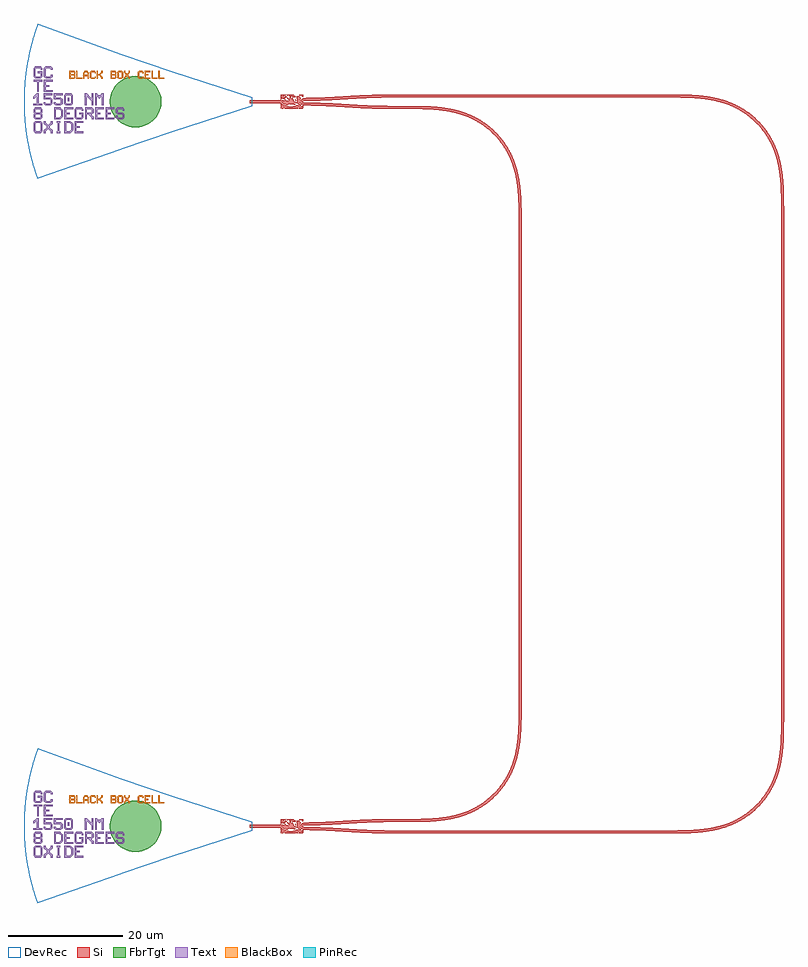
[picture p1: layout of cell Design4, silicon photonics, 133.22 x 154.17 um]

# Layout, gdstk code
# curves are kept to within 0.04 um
from math import pi, radians
import gdstk
lib = gdstk.Library(unit=1e-6, precision=1e-09)
def R(c, l, rs):  # rectangles x0, y0, x1, y1
    for r in rs: c.add(gdstk.rectangle(r[:2], r[2:], *l))
def P(c, l, *ps):  # polygons
    for p in ps: c.add(gdstk.Polygon(p, *l))
Si = (1, 0)
PinRec = (1, 10)
Text = (10, 0)
DevRec = (68, 0)
FbrTgt = (81, 0)
BlackBox = (998, 0)

l4p0w2p5 = lib.new_cell('L4p0W2p5')
P(l4p0w2p5, Si, [(-1.8,-1.25),(-1.8,-1.1),(-1.6,-1.1),(-1.6,-1.05),(-1.55,-1.05),(-1.55,-1),(-1.6,-1),(-1.6,-0.95),(1.1,-0.95),(1.1,-1),(1.05,-1),(1.05,-1.2),(1,-1.2),(1,-1.25),(0.9,-1.25),(0.9,-1.2),(0.85,-1.2),(0.85,-1.15),(0.7,-1.15),(0.7,-1.25),(-1.2,-1.25),(-1.2,-1.2),(-1.25,-1.2),(-1.25,-1.1),(-1.3,-1.1),(-1.3,-1.05),(-1.5,-1.05),(-1.5,-1.25)],
  [(-0.25,-0.45),(-0.25,-0.4),(-0.35,-0.4),(-0.35,-0.35),(0.1,-0.35),(0.1,-0.4),(0,-0.4),(0,-0.45)],
  [(11.276,0.559),(11.276,1.06),(15.182,1.229),(20,1.25),(20,0.75),(15.194,0.729)],
  [(0.1,0.75),(0.1,0.8),(0.05,0.8),(0.05,1.05),(0,1.05),(0,1.1),(-0.05,1.1),(-0.05,1.15),(-0.1,1.15),(-0.1,1.25),(0.35,1.25),(0.35,1.15),(0.3,1.15),(0.3,1),(0.4,1),(0.4,1.05),(0.5,1.05),(0.5,1),(0.6,1),(0.6,0.95),(0.65,0.95),(0.65,0.85),(0.6,0.85),(0.6,0.75)],
  [(1.65,-1.25),(1.65,-0.8),(1.9,-0.75),(1.9,-0.65),(1.95,-0.65),(1.95,-0.55),(1.85,-0.45),(1.65,-0.45),(1.65,-0.3),(1.85,-0.2),(1.85,-0.1),(1.65,-0.05),(1.65,0.35),(1.85,0.55),(1.95,0.55),(2,0.651),(5.915,0.746),(5.915,0.246),(2,0.151),(2,0.3),(1.75,0.25),(1.75,0.15),(1.95,0),(1.95,-0.15),(5.915,-0.246),(5.915,-0.746),(2,-0.651),(2,-1.1),(1.9,-1.1),(1.85,-1.25)],
  [(1.2,-1.25),(1.2,-1.15),(1.25,-1.15),(1.25,-1),(1.2,-1),(1.2,-0.95),(-0.2,-0.95),(-0.2,-0.9),(0.15,-0.9),(0.15,-0.85),(0.2,-0.85),(0.2,-0.8),(0.25,-0.8),(0.25,-0.75),(0.65,-0.75),(0.65,-0.7),(0.75,-0.7),(0.75,-0.65),(1.1,-0.65),(1.1,-0.6),(1.15,-0.6),(1.15,-0.55),(1.2,-0.55),(1.2,-0.45),(1.55,-0.45),(1.55,-0.5),(1.6,-0.5),(1.6,-0.55),(1.55,-0.55),(1.55,-0.65),(1.5,-0.65),(1.5,-0.7),(1.45,-0.7),(1.45,-0.75),(1.4,-0.75),(1.4,-0.85),(1.45,-0.85),(1.45,-0.9),(1.55,-0.9),(1.55,-0.85),(1.6,-0.85),(1.6,-0.8),(1.65,-0.8),(1.65,-1.25)],
  [(-2,0.5),(-2,0.8),(-1.9,0.8),(-1.9,0.75),(-1.85,0.75),(-1.85,0.7),(-1.8,0.7),(-1.8,0.6),(-1.75,0.6),(-1.75,0.5)],
  [(1.35,1.05),(1.35,1.1),(1.3,1.1),(1.3,1.25),(1.55,1.25),(1.55,1.2),(1.5,1.2),(1.5,1.1),(1.45,1.1),(1.45,1.05)],
  [(-2,-1.2),(-2,-0.9),(-1.95,-0.9),(-1.95,-0.85),(-1.9,-0.85),(-1.9,-0.75),(-1.85,-0.75),(-1.85,-0.65),(-1.95,-0.65),(-1.95,-0.7),(-2,-0.7),(-2,-0.25),(-7,-0.25),(-7,-0.1),(-1.85,-0.1),(-1.85,0.1),(-1.9,0.1),(-1.9,0.15),(-2,0.15),(-2,-0.1),(-7,-0.1),(-7,0.25),(-2,0.25),(-2,0.4),(-1.95,0.4),(-1.95,0.35),(-1.9,0.35),(-1.9,0.3),(-1.85,0.3),(-1.85,0.2),(-1.8,0.2),(-1.8,0.15),(-1.75,0.15),(-1.75,0.2),(-1.7,0.2),(-1.7,0.25),(-1.65,0.25),(-1.65,0.3),(-1.55,0.3),(-1.55,0.25),(-1.5,0.25),(-1.5,0.2),(-1.45,0.2),(-1.45,0.15),(-1.35,0.15),(-1.35,0.2),(-1.3,0.2),(-1.3,0.45),(-1.25,0.45),(-1.25,0.4),(-1.15,0.4),(-1.15,0.25),(-1.1,0.25),(-1.1,0.2),(-0.85,0.2),(-0.85,0.15),(-0.75,0.15),(-0.75,0.1),(-0.7,0.1),(-0.7,0.05),(-0.6,0.05),(-0.6,0.1),(-0.55,0.1),(-0.55,0.4),(-0.6,0.4),(-0.6,0.45),(-0.65,0.45),(-0.65,0.5),(-0.7,0.5),(-0.7,0.55),(-0.8,0.55),(-0.8,0.7),(-0.7,0.7),(-0.7,0.6),(-0.65,0.6),(-0.65,0.55),(-0.55,0.55),(-0.55,0.5),(-0.5,0.5),(-0.5,0.4),(-0.4,0.4),(-0.4,0.5),(-0.35,0.5),(-0.35,0.55),(-0.3,0.55),(-0.3,0.65),(-0.35,0.65),(-0.35,0.9),(-0.3,0.9),(-0.3,1),(-0.35,1),(-0.35,1.05),(-0.45,1.05),(-0.45,1.1),(-0.5,1.1),(-0.5,1.15),(-0.55,1.15),(-0.55,1.25),(-0.2,1.25),(-0.2,0.75),(-0.25,0.75),(-0.25,0.55),(-0.2,0.55),(-0.2,-0.35),(-0.6,-0.35),(-0.6,-0.4),(-0.7,-0.4),(-0.7,-0.45),(-0.75,-0.45),(-0.75,-0.5),(-0.8,-0.5),(-0.8,-0.55),(-0.85,-0.55),(-0.85,-0.6),(-0.95,-0.6),(-0.95,-0.55),(-1,-0.55),(-1,-0.4),(-1.4,-0.4),(-1.4,-0.35),(-1.5,-0.35),(-1.5,-0.3),(-1.55,-0.3),(-1.55,-0.25),(-1.6,-0.25),(-1.6,-0.2),(-1.65,-0.2),(-1.65,-0.15),(-1.85,-0.15),(-0.35,-0.15),(-0.35,-0.1),(-0.3,-0.1),(-0.3,0.05),(-0.4,0.05),(-0.4,-0.15),(-1.85,-0.15),(-1.85,-0.35),(-1.8,-0.35),(-1.8,-0.4),(-1.65,-0.4),(-1.65,-0.45),(-1.6,-0.45),(-1.6,-0.5),(-1.55,-0.5),(-1.55,-0.55),(-1.5,-0.55),(-1.5,-0.6),(-1.2,-0.6),(-1.2,-0.65),(-1.1,-0.65),(-1.1,-0.7),(-1,-0.7),(-1,-0.8),(-0.95,-0.8),(-0.95,-0.85),(-0.75,-0.85),(-0.75,-0.8),(-0.65,-0.8),(-0.65,-0.85),(-0.45,-0.85),(-0.45,-0.9),(-0.25,-0.9),(-0.25,-0.85),(-0.2,-0.85),(-0.2,-0.95),(-1.9,-0.95),(-1.9,-1.1),(-1.95,-1.1),(-1.95,-1.2)],
  [(0.4,-0.55),(0.4,-0.5),(0.35,-0.5),(0.35,-0.35),(0.55,-0.35),(0.55,-0.5),(0.5,-0.5),(0.5,-0.55)],
  [(0.15,-0.4),(0.15,-0.35),(-0.2,-0.35),(-0.2,0.55),(-0.15,0.55),(-0.15,0.45),(-0.1,0.45),(-0.1,0.5),(-0.05,0.5),(-0.05,0.55),(0,0.55),(0,0.6),(0.15,0.6),(0.15,0.4),(0.2,0.4),(0.2,0.3),(0.25,0.3),(0.25,0.25),(0.3,0.25),(0.3,0.1),(0.35,0.1),(0.35,0),(0.45,0),(0.45,-0.05),(0.5,-0.05),(0.5,0),(0.6,0),(0.6,-0.05),(0.65,-0.05),(0.65,-0.1),(0.85,-0.1),(0.85,-0.05),(0.95,-0.05),(0.95,0.1),(0.9,0.1),(0.9,0.15),(1.15,0.15),(1.15,0.25),(1.1,0.25),(1.1,0.15),(0.9,0.15),(0.9,0.2),(0.85,0.2),(0.85,0.3),(0.9,0.3),(0.9,0.5),(0.85,0.5),(1.1,0.5),(1.1,0.45),(1.2,0.45),(1.2,0.5),(1.25,0.5),(1.25,0.55),(1.2,0.55),(1.2,0.6),(1.1,0.6),(1.1,0.65),(1.05,0.65),(1.05,0.5),(0.85,0.5),(0.85,0.55),(0.8,0.55),(0.8,0.95),(1.25,0.95),(1.25,0.9),(1.3,0.9),(1.3,0.75),(1.35,0.75),(1.35,0.7),(1.5,0.7),(1.5,0.65),(1.55,0.65),(1.55,0.55),(1.5,0.55),(1.5,0.5),(1.45,0.5),(1.45,0.45),(1.4,0.45),(1.4,0.3),(1.55,0.3),(1.55,0.35),(1.65,0.35),(1.65,0),(1.6,0),(1.6,0.05),(1.5,0.05),(1.5,0),(1.45,0),(1.45,-0.15),(1.6,-0.15),(1.6,-0.3),(1.5,-0.3),(1.5,-0.25),(1.45,-0.25),(1.45,-0.2),(1.35,-0.2),(1.35,-0.25),(1.3,-0.25),(1.3,-0.3),(1.25,-0.3),(1.25,-0.35),(1.1,-0.35),(1.1,-0.3),(1,-0.3),(1,-0.25),(0.85,-0.25),(0.85,-0.2),(0.8,-0.2),(0.8,-0.15),(0.4,-0.15),(0.4,-0.2),(0.35,-0.2),(0.35,-0.35),(0.3,-0.35),(0.3,-0.4)],
  [(-1.45,0.5),(-1.45,0.55),(-1.65,0.55),(-1.65,0.6),(-1.7,0.6),(-1.7,0.7),(-1.75,0.7),(-1.75,0.75),(-1.8,0.75),(-1.8,0.8),(-1.85,0.8),(-1.85,0.9),(-1.95,0.9),(-1.95,0.95),(-2,0.95),(-2,1.25),(-0.65,1.25),(-0.65,1.15),(-0.7,1.15),(-0.7,1.1),(-0.75,1.1),(-0.75,1.05),(-0.85,1.05),(-0.85,1.1),(-1.1,1.1),(-1.1,1.15),(-1.3,1.15),(-1.3,1.1),(-1.35,1.1),(-1.35,1.05),(-1.45,1.05),(-1.45,1),(-1.65,1),(-1.65,0.9),(-1.6,0.9),(-1.6,0.85),(-1.55,0.85),(-1.55,0.8),(-1.3,0.8),(-1.3,0.85),(-1.25,0.85),(-1.25,0.9),(-1.15,0.9),(-1.15,0.95),(-1,0.95),(-1,0.9),(-0.95,0.9),(-0.95,0.8),(-1,0.8),(-1,0.75),(-1.05,0.75),(-1.05,0.7),(-1.25,0.7),(-1.25,0.65),(-1.3,0.65),(-1.3,0.5)],
  [(11.276,-1.06),(5.915,-0.746),(5.915,-0.246),(11.276,-0.559)],
  [(0.6,0.2),(0.6,0.25),(0.55,0.25),(0.55,0.4),(0.6,0.4),(0.6,0.35),(0.65,0.35),(0.65,0.2)],
  [(16.798,-1.25),(11.276,-1.06),(11.276,-0.559),(15.194,-0.729),(20,-0.75),(20,-1.25)],
  [(1.85,0.85),(1.85,0.9),(1.8,0.9),(1.8,1),(1.75,1),(1.75,1.05),(1.7,1.05),(1.7,1.1),(1.65,1.1),(1.65,1.2),(1.6,1.2),(1.6,1.25),(2,1.25),(2,0.85)],
  [(-0.2,0.85),(-0.2,1.05),(-0.15,1.05),(-0.15,0.95),(-0.1,0.95),(-0.1,0.9),(-0.15,0.9),(-0.15,0.85)],
  [(5.915,0.246),(5.915,0.746),(11.276,1.06),(11.276,0.559)])

invmmi_d4 = lib.new_cell('InvMMI_D4')
invmmi_d4.add(gdstk.Reference(l4p0w2p5, (0,0)))

text = lib.new_cell('TEXT')
P(text, BlackBox, [(13.2,0),(13.2,1.4),(14.2,1.4),(14.2,1.2),(13.4,1.2),(13.4,0.8),(13.8,0.8),(13.8,0.6),(13.4,0.6),(13.4,0.2),(14.2,0.2),(14.2,0)],
  [(9.6,0),(9.6,0.3),(9.9,0.6),(9.9,0.8),(9.6,1.1),(9.6,1.4),(9.8,1.4),(9.8,1.2),(10.1,0.9),(10.4,1.2),(10.4,1.4),(10.6,1.4),(10.6,1.1),(10.3,0.8),(10.3,0.6),(10.6,0.3),(10.6,0),(10.4,0),(10.4,0.2),(10.1,0.5),(9.8,0.2),(9.8,0)],
  [(8.6,0),(8.4,0.2),(8.4,1.2),(8.6,1.4),(9.2,1.4),(9.4,1.2),(9.4,0.7),(9.2,0.7),(9.2,1.1),(9.1,1.2),(8.7,1.2),(8.6,1.1),(8.6,0.3),(8.7,0.2),(9.1,0.2),(9.2,0.3),(9.2,0.7),(9.4,0.7),(9.4,0.2),(9.2,0)],
  [(4.8,0),(4.8,1.4),(5,1.4),(5,0.8),(5.2,0.8),(5.6,1.2),(5.6,1.4),(5.8,1.4),(5.8,1.1),(5.4,0.7),(5.8,0.3),(5.8,0),(5.6,0),(5.6,0.2),(5.2,0.6),(5,0.6),(5,0)],
  [(3.8,0),(3.6,0.2),(3.6,1.2),(3.8,1.4),(4.4,1.4),(4.6,1.2),(4.6,1),(4.4,1),(4.4,1.1),(4.3,1.2),(3.9,1.2),(3.8,1.1),(3.8,0.3),(3.9,0.2),(4.3,0.2),(4.4,0.3),(4.4,0.4),(4.6,0.4),(4.6,0.2),(4.4,0)],
  [(12.2,0),(12,0.2),(12,1.2),(12.2,1.4),(12.8,1.4),(13,1.2),(13,1),(12.8,1),(12.8,1.1),(12.7,1.2),(12.3,1.2),(12.2,1.1),(12.2,0.3),(12.3,0.2),(12.7,0.2),(12.8,0.3),(12.8,0.4),(13,0.4),(13,0.2),(12.8,0)],
  [(2.4,0),(2.4,1.1),(2.7,1.4),(3.1,1.4),(3.3,1.2),(2.8,1.2),(2.6,1),(2.6,0.7),(3.2,0.7),(3.2,1),(3,1.2),(3.3,1.2),(3.4,1.1),(3.4,0),(3.2,0),(3.2,0.5),(2.6,0.5),(2.6,0)],
  [(1.2,0),(1.2,1.4),(1.4,1.4),(1.4,0.2),(2.2,0.2),(2.2,0)],
  [(14.4,0),(14.4,1.4),(14.6,1.4),(14.6,0.2),(15.4,0.2),(15.4,0)],
  [(15.6,0),(15.6,1.4),(15.8,1.4),(15.8,0.2),(16.6,0.2),(16.6,0)],
  [(0,0),(0,1.4),(0.8,1.4),(1,1.2),(0.2,1.2),(0.2,0.8),(0.7,0.8),(0.8,0.9),(0.8,1.1),(0.7,1.2),(1,1.2),(1,0.8),(0.9,0.7),(1,0.6),(0.2,0.6),(0.2,0.2),(0.7,0.2),(0.8,0.3),(0.8,0.5),(0.7,0.6),(1,0.6),(1,0.2),(0.8,0)],
  [(7.2,0),(7.2,1.4),(8,1.4),(8.2,1.2),(7.4,1.2),(7.4,0.8),(7.9,0.8),(8,0.9),(8,1.1),(7.9,1.2),(8.2,1.2),(8.2,0.8),(8.1,0.7),(8.2,0.6),(7.4,0.6),(7.4,0.2),(7.9,0.2),(8,0.3),(8,0.5),(7.9,0.6),(8.2,0.6),(8.2,0.2),(8,0)])

gc_te_1550_8degoxide_bb = lib.new_cell('GC_TE_1550_8degOxide_BB')
R(gc_te_1550_8degoxide_bb, Si, [(-0.4,-0.25,0,0.25)])
R(gc_te_1550_8degoxide_bb, PinRec, [(-0.01,-0.25,0.01,0.25)])
R(gc_te_1550_8degoxide_bb, Text, [(-32.313,0.092,-32.013,0.692)])
P(gc_te_1550_8degoxide_bb, Text, [(-30.77,-3.09),(-31.07,-2.79),(-31.07,-1.29),(-30.77,-0.99),(-29.87,-0.99),(-29.57,-1.29),(-29.57,-1.59),(-29.87,-1.59),(-29.87,-1.44),(-30.02,-1.29),(-30.62,-1.29),(-30.77,-1.44),(-30.77,-2.64),(-30.62,-2.79),(-30.02,-2.79),(-29.87,-2.64),(-29.87,-2.19),(-30.32,-2.19),(-30.32,-1.89),(-29.57,-1.89),(-29.57,-2.79),(-29.87,-3.09)],
  [(-37.97,4.11),(-38.27,4.41),(-38.27,5.91),(-37.97,6.21),(-37.07,6.21),(-36.77,5.91),(-36.77,5.61),(-37.07,5.61),(-37.07,5.76),(-37.22,5.91),(-37.82,5.91),(-37.97,5.76),(-37.97,4.56),(-37.82,4.41),(-37.22,4.41),(-37.07,4.56),(-37.07,5.01),(-37.52,5.01),(-37.52,5.31),(-36.77,5.31),(-36.77,4.41),(-37.07,4.11)],
  [(-36.47,-5.49),(-36.47,-5.04),(-36.02,-4.59),(-36.02,-4.29),(-36.47,-3.84),(-36.47,-3.39),(-36.17,-3.39),(-36.17,-3.69),(-35.72,-4.14),(-35.27,-3.69),(-35.27,-3.39),(-34.97,-3.39),(-34.97,-3.84),(-35.42,-4.29),(-35.42,-4.59),(-34.97,-5.04),(-34.97,-5.49),(-35.27,-5.49),(-35.27,-5.19),(-35.72,-4.74),(-36.17,-5.19),(-36.17,-5.49)],
  [(-37.67,1.71),(-37.67,3.51),(-38.27,3.51),(-38.27,3.81),(-36.77,3.81),(-36.77,3.51),(-37.37,3.51),(-37.37,1.71)],
  [(-37.97,-5.49),(-38.27,-5.19),(-38.27,-3.69),(-37.97,-3.39),(-37.07,-3.39),(-36.77,-3.69),(-36.77,-4.44),(-37.07,-4.44),(-37.07,-3.84),(-37.22,-3.69),(-37.82,-3.69),(-37.97,-3.84),(-37.97,-5.04),(-37.82,-5.19),(-37.22,-5.19),(-37.07,-5.04),(-37.07,-4.44),(-36.77,-4.44),(-36.77,-5.19),(-37.07,-5.49)],
  [(-31.07,-5.49),(-31.07,-3.39),(-29.57,-3.39),(-29.57,-3.69),(-30.77,-3.69),(-30.77,-4.29),(-30.17,-4.29),(-30.17,-4.59),(-30.77,-4.59),(-30.77,-5.19),(-29.57,-5.19),(-29.57,-5.49)],
  [(-32.87,-3.09),(-32.87,-0.99),(-31.37,-0.99),(-31.37,-1.29),(-32.57,-1.29),(-32.57,-1.89),(-31.97,-1.89),(-31.97,-2.19),(-32.57,-2.19),(-32.57,-2.79),(-31.37,-2.79),(-31.37,-3.09)],
  [(-27.47,-3.09),(-27.47,-0.99),(-25.97,-0.99),(-25.97,-1.29),(-27.17,-1.29),(-27.17,-1.89),(-26.57,-1.89),(-26.57,-2.19),(-27.17,-2.19),(-27.17,-2.79),(-25.97,-2.79),(-25.97,-3.09)],
  [(-25.67,-3.09),(-25.67,-0.99),(-24.17,-0.99),(-24.17,-1.29),(-25.37,-1.29),(-25.37,-1.89),(-24.77,-1.89),(-24.77,-2.19),(-25.37,-2.19),(-25.37,-2.79),(-24.17,-2.79),(-24.17,-3.09)],
  [(-36.47,1.71),(-36.47,3.81),(-34.97,3.81),(-34.97,3.51),(-36.17,3.51),(-36.17,2.91),(-35.57,2.91),(-35.57,2.61),(-36.17,2.61),(-36.17,2.01),(-34.97,2.01),(-34.97,1.71)],
  [(-29.313,-0.658),(-29.313,1.442),(-29.013,1.442),(-28.263,0.692),(-28.113,0.692),(-28.113,1.442),(-27.813,1.442),(-27.813,-0.658),(-28.113,-0.658),(-28.113,0.092),(-28.863,0.842),(-29.013,0.842),(-29.013,-0.658)],
  [(-34.22,-5.49),(-34.22,-5.19),(-34.07,-5.19),(-34.07,-3.69),(-34.22,-3.69),(-34.22,-3.39),(-33.62,-3.39),(-33.62,-3.69),(-33.77,-3.69),(-33.77,-5.19),(-33.62,-5.19),(-33.62,-5.49)],
  [(-36.17,4.11),(-36.47,4.41),(-36.47,5.91),(-36.17,6.21),(-35.27,6.21),(-34.97,5.91),(-34.97,5.61),(-35.27,5.61),(-35.27,5.76),(-35.42,5.91),(-36.02,5.91),(-36.17,5.76),(-36.17,4.56),(-36.02,4.41),(-35.42,4.41),(-35.27,4.56),(-35.27,4.71),(-34.97,4.71),(-34.97,4.41),(-35.27,4.11)],
  [(-27.513,-0.658),(-27.513,1.442),(-27.213,1.442),(-26.913,1.142),(-26.613,1.142),(-26.313,1.442),(-26.013,1.442),(-26.013,-0.658),(-26.313,-0.658),(-26.313,0.842),(-26.463,0.842),(-26.763,0.542),(-27.063,0.842),(-27.213,0.842),(-27.213,-0.658)],
  [(-29.27,-3.09),(-29.27,-0.99),(-28.07,-0.99),(-27.77,-1.29),(-28.97,-1.29),(-28.97,-1.89),(-28.22,-1.89),(-28.07,-1.74),(-28.07,-1.44),(-28.22,-1.29),(-27.77,-1.29),(-27.77,-1.89),(-28.07,-2.19),(-28.07,-2.34),(-27.77,-2.64),(-27.77,-3.09),(-28.07,-3.09),(-28.07,-2.79),(-28.67,-2.19),(-28.97,-2.19),(-28.97,-3.09)],
  [(-32.613,-0.658),(-32.913,-0.358),(-32.913,1.142),(-32.613,1.442),(-31.713,1.442),(-31.413,1.142),(-32.463,1.142),(-32.613,0.992),(-32.613,-0.208),(-32.463,-0.358),(-31.863,-0.358),(-31.713,-0.208),(-31.713,0.992),(-31.863,1.142),(-31.413,1.142),(-31.413,-0.358),(-31.713,-0.658)],
  [(-37.97,-3.09),(-38.27,-2.79),(-38.27,-2.19),(-38.12,-2.04),(-38.27,-1.89),(-38.27,-1.29),(-37.97,-0.99),(-37.07,-0.99),(-36.77,-1.29),(-37.82,-1.29),(-37.97,-1.44),(-37.97,-1.74),(-37.82,-1.89),(-37.22,-1.89),(-37.07,-1.74),(-37.07,-1.44),(-37.22,-1.29),(-36.77,-1.29),(-36.77,-1.89),(-36.92,-2.04),(-36.77,-2.19),(-37.82,-2.19),(-37.97,-2.34),(-37.97,-2.64),(-37.82,-2.79),(-37.22,-2.79),(-37.07,-2.64),(-37.07,-2.34),(-37.22,-2.19),(-36.77,-2.19),(-36.77,-2.79),(-37.07,-3.09)],
  [(-32.87,-5.49),(-32.87,-3.39),(-31.82,-3.39),(-31.52,-3.69),(-32.57,-3.69),(-32.57,-5.19),(-31.97,-5.19),(-31.67,-4.89),(-31.67,-3.99),(-31.97,-3.69),(-31.52,-3.69),(-31.37,-3.84),(-31.37,-5.04),(-31.82,-5.49)],
  [(-34.67,-3.09),(-34.67,-0.99),(-33.62,-0.99),(-33.32,-1.29),(-34.37,-1.29),(-34.37,-2.79),(-33.77,-2.79),(-33.47,-2.49),(-33.47,-1.59),(-33.77,-1.29),(-33.32,-1.29),(-33.17,-1.44),(-33.17,-2.64),(-33.62,-3.09)],
  [(-36.213,-0.658),(-36.513,-0.358),(-36.513,-0.058),(-36.213,-0.058),(-36.213,-0.208),(-36.063,-0.358),(-35.463,-0.358),(-35.313,-0.208),(-35.313,0.242),(-35.463,0.392),(-36.513,0.392),(-36.513,1.442),(-35.013,1.442),(-35.013,1.142),(-36.213,1.142),(-36.213,0.692),(-35.313,0.692),(-35.013,0.392),(-35.013,-0.358),(-35.313,-0.658)],
  [(-34.413,-0.658),(-34.713,-0.358),(-34.713,-0.058),(-34.413,-0.058),(-34.413,-0.208),(-34.263,-0.358),(-33.663,-0.358),(-33.513,-0.208),(-33.513,0.242),(-33.663,0.392),(-34.713,0.392),(-34.713,1.442),(-33.213,1.442),(-33.213,1.142),(-34.413,1.142),(-34.413,0.692),(-33.513,0.692),(-33.213,0.392),(-33.213,-0.358),(-33.513,-0.658)],
  [(-23.57,-3.09),(-23.87,-2.79),(-23.87,-2.49),(-23.57,-2.49),(-23.57,-2.64),(-23.42,-2.79),(-22.82,-2.79),(-22.67,-2.64),(-22.67,-2.34),(-22.82,-2.19),(-23.57,-2.19),(-23.87,-1.89),(-23.87,-1.29),(-23.57,-0.99),(-22.67,-0.99),(-22.37,-1.29),(-22.37,-1.59),(-22.67,-1.59),(-22.67,-1.44),(-22.82,-1.29),(-23.42,-1.29),(-23.57,-1.44),(-23.57,-1.74),(-23.42,-1.89),(-22.67,-1.89),(-22.37,-2.19),(-22.37,-2.79),(-22.67,-3.09)],
  [(-38.313,-0.658),(-38.313,-0.358),(-37.713,-0.358),(-37.713,0.842),(-37.863,0.842),(-38.163,0.542),(-38.313,0.542),(-38.313,0.842),(-37.713,1.442),(-37.413,1.442),(-37.413,-0.358),(-36.813,-0.358),(-36.813,-0.658)])
P(gc_te_1550_8degoxide_bb, DevRec, [(-37.607,-13.5),(-38.627,-10.245),(-39.378,-6.832),(-39.647,-5.058),(-39.835,-3.274),(-39.969,0.224),(-39.812,3.541),(-39.331,7.097),(-38.557,10.505),(-37.546,13.669),(-22.8,8.353),(-14.109,5.36),(0,0.75),(0,-0.75),(-14.109,-5.36)])
P(gc_te_1550_8degoxide_bb, FbrTgt, [(-20.621,-4.5),(-21.495,-4.37),(-22.326,-4.073),(-23.084,-3.619),(-23.738,-3.026),(-24.264,-2.316),(-24.642,-1.518),(-24.857,-0.661),(-24.9,0.221),(-24.77,1.095),(-24.473,1.926),(-24.019,2.684),(-23.426,3.338),(-22.716,3.864),(-21.918,4.242),(-21.061,4.457),(-20.179,4.5),(-19.305,4.37),(-18.474,4.073),(-17.716,3.619),(-17.062,3.026),(-16.536,2.316),(-16.158,1.518),(-15.943,0.661),(-15.9,-0.221),(-16.03,-1.095),(-16.327,-1.926),(-16.781,-2.684),(-17.374,-3.338),(-18.084,-3.864),(-18.882,-4.242),(-19.739,-4.457)])
gc_te_1550_8degoxide_bb.add(gdstk.Reference(text, (-32,4)))
gc_te_1550_8degoxide_bb.add(gdstk.Label('Component=GC_TE_1550_8degOxide_BB', (-28,-5), layer=68, texttype=0))
gc_te_1550_8degoxide_bb.add(gdstk.Label('Lumerical_INTERCONNECT_library=Design kits/ebeam', (-29,-7), layer=68, texttype=0))
gc_te_1550_8degoxide_bb.add(gdstk.Label('opt1', (0,0), layer=1, texttype=10))

array_gdsfactorypcompone = lib.new_cell('array_gdsfactorypcomponentspcontainersparray_component__355bc7be')
r = gdstk.Reference(gc_te_1550_8degoxide_bb, (0,0)); r.repetition = gdstk.Repetition(1, 2, v1=(0,0), v2=(0,127)); array_gdsfactorypcompone.add(r)

straight_gdsfactorypcomp = lib.new_cell('straight_gdsfactorypcomponentspwaveguidespstraight_L85__0dec0892')
R(straight_gdsfactorypcomp, Si, [(0,-0.25,85,0.25)])

c_straight_gdsfactorypcomp = lib.new_cell('straight_gdsfactorypcomponentspwaveguidespstraight_L89__659177e8')
R(c_straight_gdsfactorypcomp, Si, [(0,-0.25,89,0.25)])

bend_euler_gdsfactorypco = lib.new_cell('bend_euler_gdsfactorypcomponentspbendspbend_euler_R20_A_579e8d91')
P(bend_euler_gdsfactorypco, Si, [(0,-0.25),(0,0.25),(3.237,0.286),(5.516,0.43),(7.635,0.732),(9.702,1.255),(11.313,1.88),(12.72,2.627),(14.032,3.532),(15.232,4.58),(16.386,5.864),(17.373,7.28),(18.12,8.687),(18.745,10.298),(19.268,12.365),(19.57,14.484),(19.714,16.763),(19.75,20),(20.25,20),(20.209,16.61),(20.054,14.299),(19.785,12.405),(19.342,10.539),(18.742,8.856),(17.941,7.257),(16.947,5.77),(15.68,4.32),(14.23,3.053),(12.743,2.059),(11.144,1.258),(9.461,0.658),(7.595,0.215),(5.701,-0.054),(3.39,-0.209)])

c_straight_gdsfactorypcomp_ = lib.new_cell('straight_gdsfactorypcomponentspwaveguidespstraight_L46__d5d04afa')
R(c_straight_gdsfactorypcomp_, Si, [(0,-0.25,46,0.25)])

design4 = lib.new_cell('Design4')
design4.add(gdstk.Reference(invmmi_d4, (7,0)))
design4.add(gdstk.Reference(invmmi_d4, (7,127)))
design4.add(gdstk.Reference(array_gdsfactorypcompone, (0,0)))
design4.add(gdstk.Reference(straight_gdsfactorypcomp, (47,106), rotation=3*pi/2))
design4.add(gdstk.Reference(c_straight_gdsfactorypcomp, (93,108), rotation=3*pi/2))
design4.add(gdstk.Reference(bend_euler_gdsfactorypco, (73,-1)))
design4.add(gdstk.Reference(bend_euler_gdsfactorypco, (27,1)))
design4.add(gdstk.Reference(c_straight_gdsfactorypcomp_, (27,128)))
design4.add(gdstk.Reference(c_straight_gdsfactorypcomp_, (73,-1), rotation=pi))
design4.add(gdstk.Reference(bend_euler_gdsfactorypco, (47,106), rotation=pi/2))
design4.add(gdstk.Reference(bend_euler_gdsfactorypco, (93,108), rotation=pi/2))

lib.write_gds('Design4.gds')
